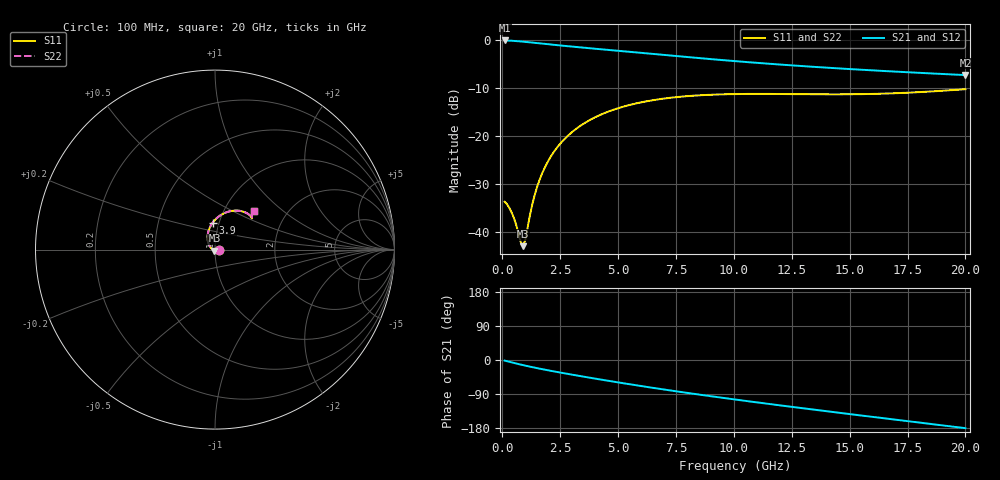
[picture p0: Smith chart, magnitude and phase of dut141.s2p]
! Touchstone file exported from HFSS 2023.1.0
!  File:  D:/Users/fzz/RDL_TSV/temp_RDL_TSV_141_1778752528.aedt
!  Generated:  6:02:09 %x4E0B%x5348  5%x6708 14, 2026
!  Design:  RDL_TSV
!  Project:  temp_RDL_TSV_141_1778752528
!  Setup:  Setup1
!  Solution:  Sweep
! Variables:
!  dtsv = 17.68um
!  hbump = 3um
!  htsv = 55.49um
!  ldown = 123.41um
!  lrdl = 457.47um
!  p = 40
!  p1 = 42.02um
!  rhole = 10um
!  subl = 2200.11um
!  t = 450um
!  tdown = 2.42um
!  trdl = 2.84um
!  viad = 10um
!  wdown = 10.64um
!  wrdl = 14.18um
!  xbump = 18um
# GHz S MA R 50.000000
! Terminal data exported
! Port[1] = TM1_1_T1
! Port[2] = TM1_4_T1
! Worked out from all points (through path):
!   200 points, 100 MHz to 20 GHz, reference 50 ohm
!   highest |S21| = -0.19 dB at 100 MHz (marker M1); lowest = -7.4 dB at 20 GHz (marker M2)
!   group delay of S21, straight-line fit = 23.9 ps
!   lowest |S11| = -43.0 dB at 900 MHz (marker M3), VSWR 1.01, Z = 49.7 - j0.64 ohm
!   |S11| at or under -10 dB: start of sweep to end of sweep
!   |S22| runs from -42.9 to -10.3 dB; largest |S21 - S12| = 9.6e-15
!   S11 on the Smith chart (normalised r, x): 100 MHz: 1.04, -0.00; 3.9 GHz: 0.93, +0.29; 20 GHz: 1.38, +0.65
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0.1  0.02061 -4.7  0.9787 -1.6  0.9787 -1.6  0.02061 -4.7
! Gamma 0 0 0 0
! Port Impedance 50 0 50 0
0.2  0.01949 -10.0  0.9773 -3.2  0.9773 -3.2  0.01953 -9.7
0.4  0.01598 -24.3  0.9721 -6.3  0.9721 -6.3  0.01579 -23.6
0.6  0.01183 -45.0  0.9648 -9.3  0.9648 -9.3  0.01156 -45.5
0.8  0.00779 -82.7  0.9559 -12.2  0.9559 -12.2  0.007749 -84.1
0.9  0.007108 -115.0  0.951 -13.6  0.951 -13.6  0.007168 -116.1
1  0.008402 -147.3  0.9459 -15.0  0.9459 -15.0  0.008501 -147.8
1.2  0.01518 176.1  0.9353 -17.7  0.9353 -17.7  0.01525 176.0
1.4  0.02425 159.0  0.9245 -20.2  0.9245 -20.2  0.02431 158.9
1.6  0.03428 148.1  0.9136 -22.7  0.9136 -22.7  0.03433 148.1
1.9  0.05017 136.5  0.8977 -26.3  0.8977 -26.3  0.05022 136.5
2.2  0.06641 127.5  0.8825 -29.8  0.8825 -29.8  0.06647 127.5
2.6  0.08788 117.8  0.8633 -34.2  0.8633 -34.2  0.08795 117.7
3.5  0.1329 100.9  0.8238 -43.9  0.8238 -43.9  0.133 100.9
3.9  0.1509 94.8  0.8073 -48.0  0.8073 -48.0  0.151 94.8
5.2  0.1998 78.9  0.7562 -61.1  0.7562 -61.1  0.1999 78.9
6.8  0.2402 64.5  0.6974 -76.2  0.6974 -76.2  0.2404 64.5
8.4  0.2623 54.1  0.6443 -90.4  0.6443 -90.4  0.2625 54.1
10.1  0.2713 46.5  0.5953 -104.6  0.5953 -104.6  0.2715 46.5
13.4  0.2699 40.4  0.5212 -130.6  0.5212 -130.6  0.27 40.4
16.7  0.2751 42.0  0.468 -155.4  0.468 -155.4  0.2752 42.0
20  0.3047 44.7  0.4272 -179.9  0.4272 -179.9  0.3049 44.7
